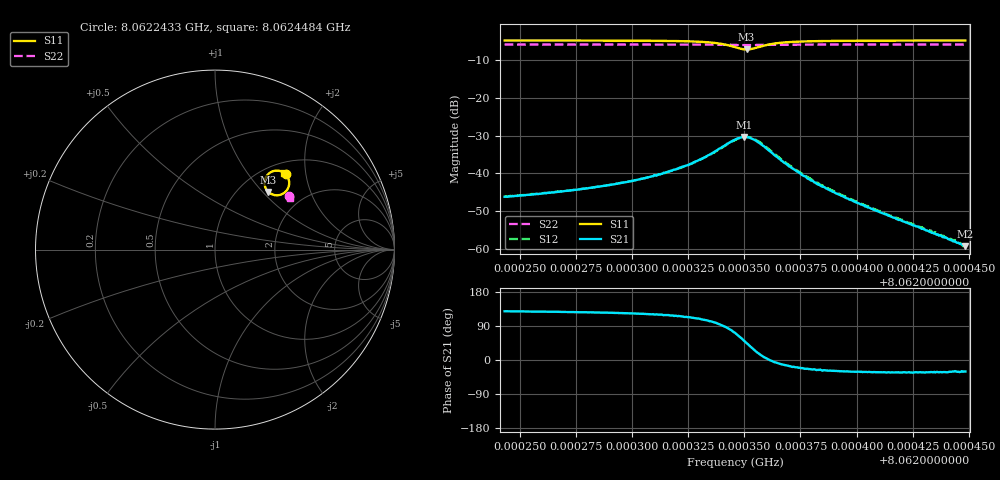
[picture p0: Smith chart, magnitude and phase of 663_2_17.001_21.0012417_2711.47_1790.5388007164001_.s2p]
#  HZ  S  RI  R  50.00
! Rohde & Schwarz Vector Network Analyzer
! Rohde-Schwarz,ZNB20-2Port,1311601062101988,3.16
! Created: UTC 3/20/2024, 11:21:50 PM
! freq[Hz]  re:S11  im:S11  re:S21  im:S21  re:S12  im:S12  re:S22  im:S22
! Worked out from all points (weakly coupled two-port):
!   401 points, 8.0622433 GHz to 8.0624484 GHz, reference 50 ohm
!   highest |S21| = -30.34 dB at 8.06235 GHz (marker M1); lowest = -59.2 dB at 8.0624484 GHz (marker M2)
!   lowest |S11| = -7.2 dB at 8.062351 GHz (marker M3), VSWR 2.56, Z = 67.8 + j53.8 ohm
!   |S11| at or under -10 dB: nowhere
!   |S22| runs from -6.0 to -5.9 dB; largest |S21 - S12| = 0.0012
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8.06224327e9  0.3943 0.4194  -0.00307 0.00385  -0.00287 0.00404  0.4124 0.2979
8.06225815e9  0.3966 0.417  -0.00325 0.00422  -0.003 0.00447  0.413 0.2971
8.06227764e9  0.4 0.4127  -0.00368 0.00503  -0.00339 0.00524  0.4136 0.296
8.06229867e9  0.4047 0.4051  -0.00427 0.00656  -0.00391 0.0068  0.4144 0.2945
8.062312e9  0.4088 0.3962  -0.00481 0.00849  -0.0043 0.00868  0.415 0.2935
8.06231867e9  0.4111 0.3892  -0.00493 0.0101  -0.00446 0.0101  0.4151 0.2929
8.06232739e9  0.4134 0.3747  -0.00508 0.013  -0.00445 0.0133  0.4152 0.2919
8.06233252e9  0.4127 0.3609  -0.00448 0.0158  -0.00371 0.016  0.4153 0.2909
8.06233868e9  0.4038 0.3362  -0.00181 0.0211  -0.000968 0.0207  0.4148 0.2898
8.06234586e9  0.3578 0.3037  0.0088 0.0266  0.00948 0.0261  0.4128 0.2885
8.06234996e9  0.309 0.3124  0.0194 0.0234  0.0197 0.0232  0.411 0.2893
8.06235099e9  0.2979 0.3207  0.0215 0.0212  0.0219 0.0213  0.4105 0.2897
8.06235304e9  0.282 0.3427  0.0242 0.0161  0.025 0.0161  0.4101 0.2907
8.0623556e9  0.2757 0.373  0.0249 0.0094  0.0258 0.00914  0.4102 0.2919
8.06236227e9  0.2991 0.423  0.0187 -0.00071  0.0193 -0.0015  0.412 0.2937
8.06236997e9  0.3286 0.4382  0.0119 -0.00341  0.0123 -0.00418  0.4138 0.2935
8.06238022e9  0.3507 0.44  0.00727 -0.00342  0.00731 -0.00385  0.4152 0.2929
8.06238433e9  0.3564 0.4391  0.00607 -0.00307  0.00601 -0.00361  0.4155 0.2926
8.06239612e9  0.3671 0.4364  0.00403 -0.00235  0.00397 -0.00261  0.4164 0.2918
8.06241459e9  0.3763 0.4325  0.00232 -0.00148  0.00226 -0.00164  0.4174 0.2907
8.06243254e9  0.3816 0.4296  0.00144 -0.000895  0.00141 -0.00102  0.4182 0.2896
8.06244844e9  0.3848 0.4276  0.000942 -0.000554  0.000921 -0.000641  0.4187 0.2885
